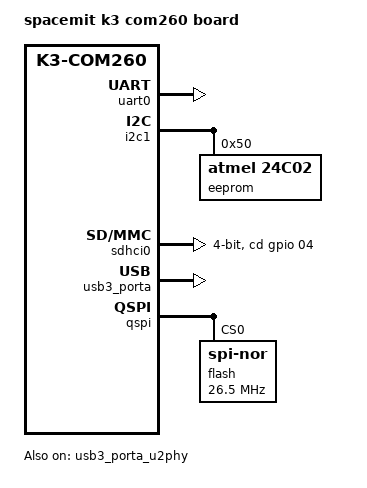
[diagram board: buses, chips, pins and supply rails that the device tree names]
// SPDX-License-Identifier: GPL-2.0
/*
 * finch board's base device tree configure.
 *
 * Copyright (C) 2025 SPACEMIT Micro Limited
 */

#include "k3.dtsi"
#include "k3-pinctrl.dtsi"

/ {
	model = "spacemit k3 com260 board";
};

&cpus {
	timebase-frequency = <24000000>;
};

&uart0 {
	status = "okay";
};

&i2c1 {
	#address-cells = <1>;
	#size-cells = <0>;
	pinctrl-names = "default";
	pinctrl-0 = <&pinctrl_i2c1_1>;
	status = "okay";

	eeprom@50{
		compatible = "atmel,24c02";
		reg = <0x50>;
		status = "okay";
	};
};

&sdhci0 {
	pinctrl-names = "default","fast";
	pinctrl-0 = <&pinctrl_mmc1>;
	pinctrl-1 = <&pinctrl_mmc1_fast>;
	bus-width = <4>;
	cd-gpios = <&gpio 04 0>;
	//vmmc-supply = <&dcdc_9>;
	vqmmc-supply = <&ldo_1>;
	clock-frequency = <204800000>;
	spacemit,tx_delaycode = <0x9f>;
	sdh-phy-module = <0>;
	status = "okay";
};

&usb3_porta_u2phy {
	status = "okay";
};

&usb3_porta {
	status = "okay";
	u-boot,dm-spl;
	dwc3@cad00000 {
		dr_mode = "peripheral";
		maximum-speed = "high-speed";
		phy_type = "utmi";
		snps,dis_enblslpm_quirk;
		snps,dis_u2_susphy_quirk;
		snps,dis_u3_susphy_quirk;
		u-boot,dm-spl;
	};
};

&qspi {
	status = "okay";

	flash@0 {
		compatible = "jedec,spi-nor";
		reg = <0>;
		spi-max-frequency = <26500000>;
		m25p,fast-read;
		broken-flash-reset;
		status = "okay";
	};
};

&pinctrl {
	pinctrl-single,gpio-range = <
		&range GPIO_04  1 (MUX_MODE0 | EDGE_NONE | PULL_UP   | PAD_DS4)
	>;
};

&gpio{
	gpio-ranges = <
		&pinctrl 04 GPIO_04 1
	>;
};

&i2c8 {
	clock-frequency = <100000>;
	u-boot,dm-spl;
	status = "disabled";

	spm8821: pmic@41 {
		compatible = "spacemit,spm8821";
		reg = <0x41>;
		bus = <8>;
		u-boot,dm-spl;

		regulators {
			/* buck */
			dcdc_1: DCDC_REG1 {
				regulator-name = "dcdc1";
				regulator-min-microvolt = <1050000>;
				regulator-max-microvolt = <1050000>;
				/* regulator-init-microvolt = <1050000>; */
				regulator-always-on;
				regulator-boot-on;
				u-boot,dm-spl;
			};

			dcdc_2: DCDC_REG2 {
				regulator-name = "dcdc2";
				regulator-min-microvolt = <1050000>;
				regulator-max-microvolt = <1050000>;
				regulator-always-on;
				regulator-boot-on;
			};

			dcdc_3: DCDC_REG3 {
				regulator-name = "dcdc3";
				regulator-min-microvolt = <800000>;
				regulator-max-microvolt = <800000>;
				regulator-always-on;
				regulator-boot-on;
				u-boot,dm-spl;
			};

			dcdc_4: DCDC_REG4 {
				regulator-name = "dcdc4";
				regulator-min-microvolt = <2100000>;
				regulator-max-microvolt = <2100000>;
				regulator-always-on;
				regulator-boot-on;
			};

			dcdc_5: DCDC_REG5 {
				regulator-name = "dcdc5";
				regulator-min-microvolt = <1800000>;
				regulator-max-microvolt = <1800000>;
				regulator-always-on;
				regulator-boot-on;
			};

			dcdc_6: DCDC_REG6 {
				regulator-name = "dcdc6";
				regulator-min-microvolt = <500000>;
				regulator-max-microvolt = <500000>;
				regulator-always-on;
				regulator-boot-on;
			};

			/* aldo */
			ldo_1: LDO_REG1 {
				regulator-name = "ldo1";
				regulator-min-microvolt = <1800000>;
				regulator-max-microvolt = <3300000>;
				/* regulator-init-microvolt = <3300000>; */
				regulator-always-on;
				regulator-boot-on;
				u-boot,dm-spl;
			};

			ldo_2: LDO_REG2 {
				regulator-name = "ldo2";
				regulator-min-microvolt = <1800000>;
				regulator-max-microvolt = <1800000>;
				regulator-always-on;
				regulator-boot-on;
			};

			ldo_3: LDO_REG3 {
				regulator-name = "ldo3";
				regulator-min-microvolt = <500000>;
				regulator-max-microvolt = <3400000>;
			};

			ldo_4: LDO_REG4 {
				regulator-name = "ldo4";
				regulator-min-microvolt = <3300000>;
				regulator-max-microvolt = <3300000>;
				regulator-always-on;
				regulator-boot-on;
			};

			/* dldo */
			ldo_5: LDO_REG5 {
				regulator-name = "ldo5";
				regulator-min-microvolt = <1200000>;
				regulator-max-microvolt = <1200000>;
				regulator-always-on;
				regulator-boot-on;
			};

			ldo_6: LDO_REG6 {
				regulator-name = "ldo6";
				regulator-min-microvolt = <900000>;
				regulator-max-microvolt = <900000>;
				regulator-always-on;
				regulator-boot-on;
			};

			ldo_7: LDO_REG7 {
				regulator-name = "ldo7";
				regulator-min-microvolt = <800000>;
				regulator-max-microvolt = <800000>;
				regulator-always-on;
				regulator-boot-on;
			};

			ldo_8: LDO_REG8 {
				regulator-name = "ldo8";
				regulator-min-microvolt = <1800000>;
				regulator-max-microvolt = <1800000>;
				regulator-boot-on;
			};

			ldo_9: LDO_REG9 {
				regulator-name = "ldo9";
				regulator-min-microvolt = <1800000>;
				regulator-max-microvolt = <1800000>;
				regulator-always-on;
				regulator-boot-on;
			};

			ldo_10: LDO_REG10 {
				regulator-name = "ldo10";
				regulator-min-microvolt = <1800000>;
				regulator-max-microvolt = <1800000>;
				regulator-always-on;
				regulator-boot-on;
			};

			ldo_11: LDO_REG11 {
				regulator-name = "ldo11";
				regulator-min-microvolt = <1800000>;
				regulator-max-microvolt = <1800000>;
				regulator-always-on;
				regulator-boot-on;
			};

			sw_2: SWITCH_REG1 {
				regulator-name = "switch1";
			};

			power_event: SWITCH_REG2 {
				regulator-name = "pwr-event";
			};

			power_int: SWITCH_REG3 {
				regulator-name = "pwr-int";
			};

			rtc_ctrl: SWITCH_REG4 {
				regulator-name = "rtc-ctrl";
			};

			rtc_event: SWITCH_REG5 {
				regulator-name = "rtc-event";
			};

			rtc_irq: SWITCH_REG6 {
				regulator-name = "rtc-irq";
			};

			power_down: SWITCH_REG7 {
				regulator-name = "power-down";
			};

			reboot_flag: SWITCH_REG8 {
				regulator-name = "reboot-flag";
			};

			wdt_pm8821: PMIC_WDT {
				wdt-name = "wdt_pm8821";
			};
		};
	};

	mpq8655: mpq8655@30 {
		compatible = "spacemit,mpq8655";
		reg = <0x30>;
		bus = <8>;
		u-boot,dm-spl;

		regulators {
			u-boot,dm-spl;

			edcdc_1: EDCDC_REG1 {
				regulator-name = "edcdc1";
				regulator-min-microvolt = <600000>;
				regulator-max-microvolt = <1000000>;
				regulator-init-microvolt = <800000>;
				regulator-always-on;
				regulator-boot-on;
				u-boot,dm-spl;
			};
		};
	};
};
